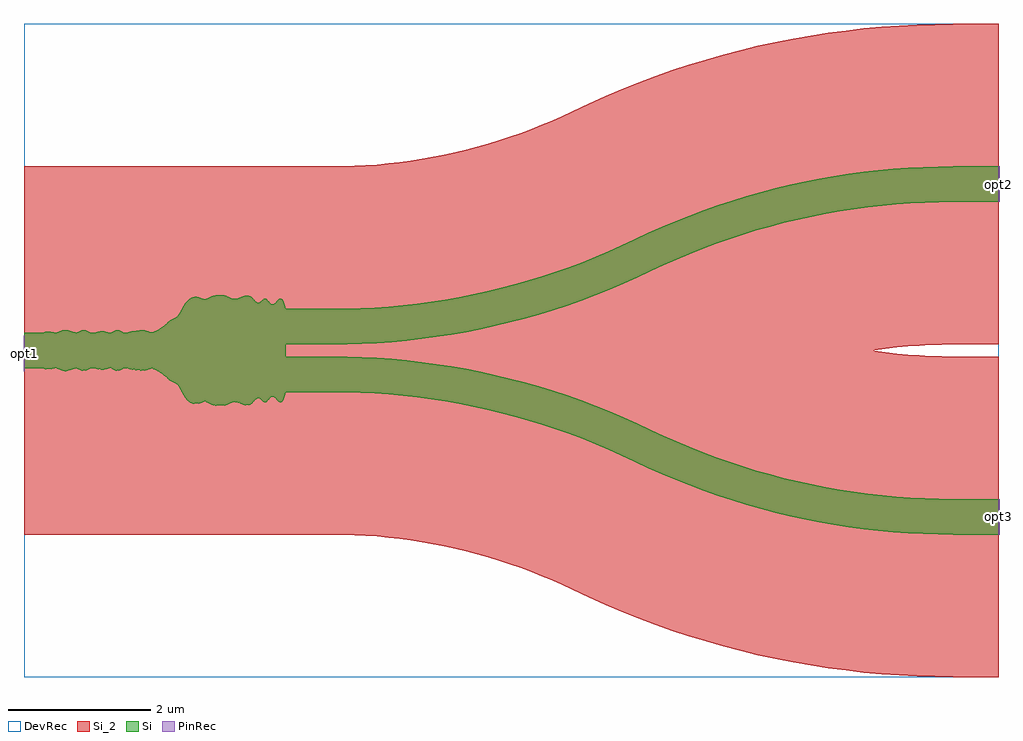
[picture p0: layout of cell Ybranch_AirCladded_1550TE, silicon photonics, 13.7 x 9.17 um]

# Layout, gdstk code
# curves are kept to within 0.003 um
import gdstk
lib = gdstk.Library(unit=1e-6, precision=1e-09)
def R(c, l, rs):  # rectangles x0, y0, x1, y1
    for r in rs: c.add(gdstk.rectangle(r[:2], r[2:], *l))
def P(c, l, *ps):  # polygons
    for p in ps: c.add(gdstk.Polygon(p, *l))
Si = (1, 0)
Si_2 = (1, 2)
PinRec = (1, 10)
DevRec = (68, 0)

ybranch_aircladded_1550t = lib.new_cell('Ybranch_AirCladded_1550TE')
P(ybranch_aircladded_1550t, Si, [(11.069,-2.584),(10.859,-2.582),(10.439,-2.565),(10.229,-2.55),(9.811,-2.507),(9.603,-2.479),(9.188,-2.41),(8.777,-2.324),(8.369,-2.222),(7.966,-2.103),(7.569,-1.968),(7.372,-1.894),(6.983,-1.734),(6.791,-1.649),(6.42,-1.474),(6.054,-1.314),(5.681,-1.17),(5.492,-1.104),(5.302,-1.041),(4.919,-0.928),(4.531,-0.831),(4.14,-0.749),(3.745,-0.684),(3.547,-0.658),(3.349,-0.635),(2.95,-0.602),(2.551,-0.586),(1.701,-0.584),(1.665,-0.695),(1.649,-0.718),(1.632,-0.728),(1.603,-0.718),(1.534,-0.65),(1.512,-0.645),(1.489,-0.658),(1.451,-0.701),(1.422,-0.726),(1.397,-0.724),(1.338,-0.674),(1.309,-0.668),(1.285,-0.682),(1.222,-0.746),(1.194,-0.762),(1.17,-0.768),(1.128,-0.766),(1.042,-0.732),(0.993,-0.722),(0.948,-0.726),(0.85,-0.77),(0.798,-0.778),(0.699,-0.77),(0.651,-0.754),(0.611,-0.732),(0.576,-0.72),(0.539,-0.722),(0.459,-0.75),(0.417,-0.75),(0.393,-0.744),(0.356,-0.726),(0.313,-0.689),(0.269,-0.626),(0.208,-0.514),(0.184,-0.482),(0.164,-0.464),(0.069,-0.414),(-0.044,-0.316),(-0.113,-0.276),(-0.158,-0.258),(-0.201,-0.256),(-0.285,-0.284),(-0.325,-0.284),(-0.458,-0.268),(-0.526,-0.249),(-0.57,-0.249),(-0.634,-0.28),(-0.668,-0.286),(-0.728,-0.258),(-0.76,-0.249),(-0.794,-0.251),(-0.856,-0.268),(-0.912,-0.266),(-0.976,-0.249),(-1.038,-0.249),(-1.108,-0.282),(-1.146,-0.286),(-1.22,-0.254),(-1.254,-0.252),(-1.37,-0.286),(-1.4,-0.288),(-1.427,-0.284),(-1.499,-0.254),(-1.528,-0.25),(-1.626,-0.266),(-1.652,-0.266),(-1.677,-0.26),(-1.698,-0.249),(-1.97,-0.249),(-1.97,0.25),(-1.698,0.25),(-1.658,0.266),(-1.62,0.266),(-1.528,0.251),(-1.499,0.255),(-1.433,0.282),(-1.4,0.288),(-1.352,0.282),(-1.282,0.258),(-1.254,0.253),(-1.22,0.255),(-1.146,0.286),(-1.106,0.282),(-1.038,0.25),(-0.976,0.25),(-0.936,0.262),(-0.884,0.27),(-0.849,0.268),(-0.794,0.252),(-0.76,0.25),(-0.738,0.255),(-0.694,0.278),(-0.668,0.286),(-0.636,0.282),(-0.57,0.25),(-0.526,0.25),(-0.454,0.27),(-0.33,0.284),(-0.285,0.284),(-0.206,0.258),(-0.163,0.258),(-0.123,0.272),(-0.044,0.317),(0.083,0.424),(0.15,0.455),(0.178,0.476),(0.21,0.518),(0.266,0.622),(0.311,0.687),(0.361,0.73),(0.421,0.752),(0.455,0.752),(0.543,0.722),(0.571,0.72),(0.6,0.728),(0.649,0.754),(0.695,0.77),(0.76,0.778),(0.818,0.778),(0.853,0.77),(0.945,0.728),(1.004,0.724),(1.045,0.734),(1.124,0.766),(1.166,0.77),(1.191,0.764),(1.218,0.75),(1.285,0.683),(1.309,0.669),(1.338,0.675),(1.395,0.724),(1.418,0.728),(1.441,0.712),(1.489,0.659),(1.512,0.646),(1.526,0.647),(1.543,0.658),(1.599,0.716),(1.621,0.728),(1.634,0.728),(1.653,0.714),(1.67,0.685),(1.701,0.585),(2.551,0.587),(2.95,0.603),(3.349,0.636),(3.745,0.685),(3.943,0.716),(4.336,0.789),(4.726,0.879),(5.111,0.984),(5.492,1.105),(5.681,1.171),(6.054,1.315),(6.42,1.475),(6.791,1.65),(6.983,1.735),(7.372,1.895),(7.569,1.969),(7.966,2.104),(8.167,2.166),(8.573,2.276),(8.777,2.325),(9.188,2.411),(9.603,2.48),(10.02,2.531),(10.439,2.566),(10.859,2.583),(11.71,2.585),(11.71,2.085),(11.069,2.085),(10.669,2.077),(10.47,2.067),(10.071,2.034),(9.675,1.985),(9.28,1.92),(9.084,1.881),(8.694,1.791),(8.501,1.741),(8.118,1.628),(7.739,1.499),(7.552,1.429),(7.182,1.277),(6.437,0.935),(6.048,0.775),(5.851,0.701),(5.454,0.566),(5.253,0.504),(4.847,0.394),(4.438,0.3),(4.232,0.259),(3.817,0.19),(3.609,0.162),(3.191,0.119),(2.981,0.104),(2.561,0.087),(1.7,0.084),(1.7,-0.084),(2.561,-0.086),(2.981,-0.103),(3.4,-0.138),(3.817,-0.189),(4.232,-0.258),(4.643,-0.344),(5.051,-0.446),(5.454,-0.565),(5.851,-0.7),(6.048,-0.774),(6.437,-0.934),(7.182,-1.276),(7.366,-1.354),(7.739,-1.498),(8.118,-1.627),(8.501,-1.74),(8.889,-1.837),(9.084,-1.88),(9.28,-1.919),(9.675,-1.984),(10.071,-2.033),(10.27,-2.051),(10.47,-2.066),(10.869,-2.082),(11.71,-2.084),(11.71,-2.584)])
P(ybranch_aircladded_1550t, Si_2, [(11.069,-4.584),(10.567,-4.574),(10.316,-4.561),(9.815,-4.52),(9.566,-4.491),(9.069,-4.42),(8.822,-4.376),(8.33,-4.274),(8.086,-4.215),(7.843,-4.152),(7.601,-4.083),(7.122,-3.931),(6.886,-3.848),(6.65,-3.759),(6.186,-3.569),(5.956,-3.466),(5.585,-3.291),(5.294,-3.165),(4.998,-3.05),(4.848,-2.997),(4.545,-2.901),(4.238,-2.817),(3.929,-2.746),(3.616,-2.688),(3.302,-2.643),(2.986,-2.61),(2.669,-2.591),(2.51,-2.586),(-1.97,-2.584),(-1.97,2.585),(2.51,2.587),(2.669,2.592),(2.986,2.611),(3.302,2.644),(3.459,2.665),(3.773,2.717),(4.084,2.781),(4.238,2.818),(4.545,2.902),(4.848,2.998),(4.998,3.051),(5.294,3.166),(5.585,3.292),(5.956,3.467),(6.186,3.57),(6.65,3.76),(6.886,3.849),(7.122,3.932),(7.601,4.084),(7.843,4.153),(8.33,4.275),(8.822,4.377),(9.069,4.421),(9.317,4.459),(9.815,4.521),(10.316,4.562),(10.567,4.575),(11.069,4.585),(11.71,4.585),(11.71,0.085),(11.069,0.085),(10.751,0.078),(10.434,0.059),(10.276,0.044),(9.932,0),(10.118,-0.025),(10.434,-0.058),(10.751,-0.077),(11.069,-0.084),(11.71,-0.084),(11.71,-4.584)])
R(ybranch_aircladded_1550t, DevRec, [(-1.97,-4.584,11.71,4.585)])
ybranch_aircladded_1550t.add(gdstk.FlexPath([(11.7,2.335),(11.72,2.335)], 0.5, ends="flush", simple_path=True, layer=1, datatype=10))  # PinRec
ybranch_aircladded_1550t.add(gdstk.FlexPath([(11.7,-2.334),(11.72,-2.334)], 0.5, ends="flush", simple_path=True, layer=1, datatype=10))  # PinRec
ybranch_aircladded_1550t.add(gdstk.FlexPath([(-1.96,-0.04),(-1.98,-0.04)], 0.5, ends="flush", simple_path=True, layer=1, datatype=10))  # PinRec
ybranch_aircladded_1550t.add(gdstk.Label('opt2', (11.71,2.335), layer=1, texttype=10))
ybranch_aircladded_1550t.add(gdstk.Label('opt3', (11.71,-2.334), layer=1, texttype=10))
ybranch_aircladded_1550t.add(gdstk.Label('opt1', (-1.97,-0.04), layer=1, texttype=10))

lib.write_gds('Ybranch_AirCladded_1550TE.gds')
